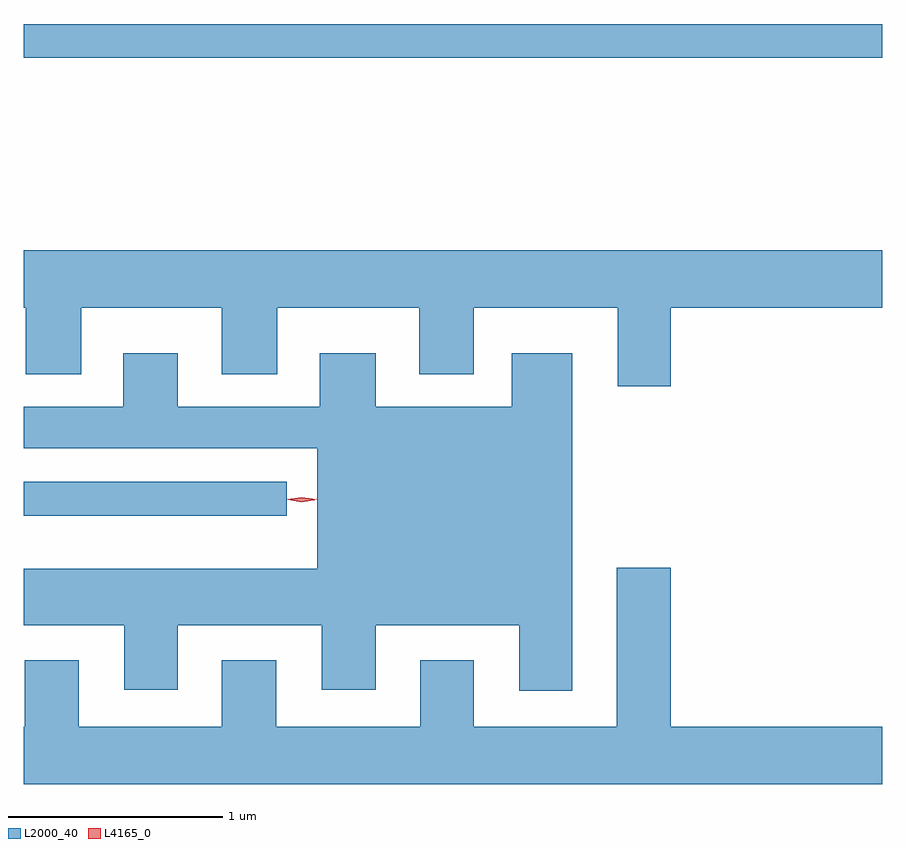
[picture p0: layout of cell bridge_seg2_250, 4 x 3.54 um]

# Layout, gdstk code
import gdstk
lib = gdstk.Library(unit=1e-6, precision=1e-09)
def R(c, l, rs):  # rectangles x0, y0, x1, y1
    for r in rs: c.add(gdstk.rectangle(r[:2], r[2:], *l))
def P(c, l, *ps):  # polygons
    for p in ps: c.add(gdstk.Polygon(p, *l))
L2000_40 = (2000, 40)
L4165_0 = (4165, 0)

bridge_seg2_250 = lib.new_cell('bridge_seg2_250')
R(bridge_seg2_250, L2000_40, [(658.523,1098.406,659.748,1098.564), (658.523,1100.541,662.523,1100.699)])
P(bridge_seg2_250, L2000_40, [(661.539,1099.376),(662.523,1099.376),(662.523,1099.644),(658.523,1099.644),(658.523,1099.376),(658.531,1099.376),(658.531,1099.066),(658.789,1099.066),(658.789,1099.376),(659.446,1099.376),(659.446,1099.066),(659.704,1099.066),(659.704,1099.376),(660.366,1099.376),(660.366,1099.066),(660.619,1099.066),(660.619,1099.376),(661.291,1099.376),(661.291,1099.011),(661.539,1099.011)],
  [(661.079,1099.164),(660.796,1099.164),(660.796,1098.914),(660.164,1098.914),(660.164,1099.164),(659.901,1099.164),(659.901,1098.914),(659.239,1098.914),(659.239,1099.164),(658.986,1099.164),(658.986,1098.914),(658.523,1098.914),(658.523,1098.721),(659.891,1098.721),(659.891,1098.159),(658.523,1098.159),(658.523,1097.896),(658.991,1097.896),(658.991,1097.596),(659.239,1097.596),(659.239,1097.896),(659.911,1097.896),(659.911,1097.596),(660.164,1097.596),(660.164,1097.896),(660.831,1097.896),(660.831,1097.591),(661.079,1097.591)],
  [(662.523,1097.424),(661.539,1097.424),(661.539,1098.164),(661.286,1098.164),(661.286,1097.424),(660.619,1097.424),(660.619,1097.734),(660.371,1097.734),(660.371,1097.424),(659.699,1097.424),(659.699,1097.734),(659.446,1097.734),(659.446,1097.424),(658.779,1097.424),(658.779,1097.734),(658.526,1097.734),(658.526,1097.424),(658.523,1097.424),(658.523,1097.156),(662.523,1097.156)])
P(bridge_seg2_250, L4165_0, [(659.815,1098.47),(659.754,1098.481),(659.753,1098.482),(659.754,1098.482),(659.816,1098.49),(659.877,1098.48),(659.878,1098.479),(659.877,1098.479)],
  [(659.819,1098.473),(659.75,1098.483),(659.749,1098.483),(659.75,1098.484),(659.819,1098.493),(659.888,1098.484),(659.888,1098.483),(659.888,1098.483)])

lib.write_gds('bridge_seg2_250.gds')
